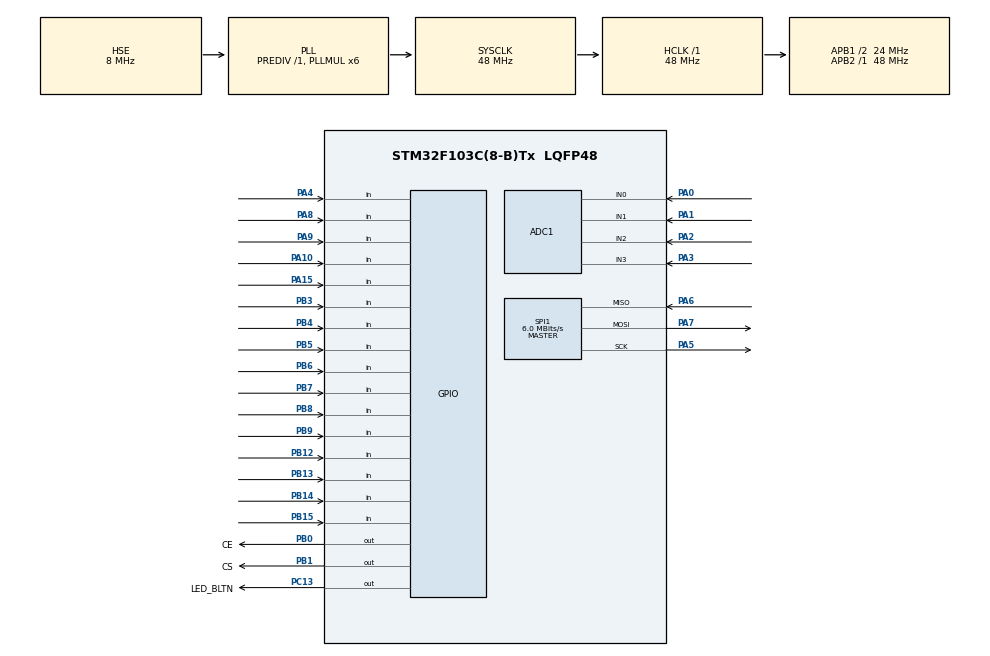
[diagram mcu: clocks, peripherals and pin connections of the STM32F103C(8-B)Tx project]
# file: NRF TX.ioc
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ADC1.Channel-0\#ChannelRegularConversion=ADC_CHANNEL_0
ADC1.Channel-1\#ChannelRegularConversion=ADC_CHANNEL_1
ADC1.Channel-2\#ChannelRegularConversion=ADC_CHANNEL_2
ADC1.Channel-3\#ChannelRegularConversion=ADC_CHANNEL_3
ADC1.ContinuousConvMode=ENABLE
ADC1.NbrOfConversion=4
ADC1.NbrOfConversionFlag=1
ADC1.Rank-0\#ChannelRegularConversion=1
ADC1.Rank-1\#ChannelRegularConversion=2
ADC1.Rank-2\#ChannelRegularConversion=3
ADC1.Rank-3\#ChannelRegularConversion=4
ADC1.SamplingTime-0\#ChannelRegularConversion=ADC_SAMPLETIME_239CYCLES_5
ADC1.SamplingTime-1\#ChannelRegularConversion=ADC_SAMPLETIME_239CYCLES_5
ADC1.SamplingTime-2\#ChannelRegularConversion=ADC_SAMPLETIME_239CYCLES_5
ADC1.SamplingTime-3\#ChannelRegularConversion=ADC_SAMPLETIME_239CYCLES_5
ADC1.master=1
Dma.ADC1.0.Direction=DMA_PERIPH_TO_MEMORY
Dma.ADC1.0.Instance=DMA1_Channel1
Dma.ADC1.0.MemDataAlignment=DMA_MDATAALIGN_HALFWORD
Dma.ADC1.0.MemInc=DMA_MINC_ENABLE
Dma.ADC1.0.Mode=DMA_CIRCULAR
Dma.ADC1.0.PeriphDataAlignment=DMA_PDATAALIGN_HALFWORD
Dma.ADC1.0.PeriphInc=DMA_PINC_DISABLE
Dma.ADC1.0.Priority=DMA_PRIORITY_HIGH
Dma.Request0=ADC1
Mcu.Family=STM32F1
Mcu.Name=STM32F103C(8-B)Tx
Mcu.Package=LQFP48
NVIC.ADC1_2_IRQn=true\:0\:0\:false\:false\:true\:true\:true\:true
NVIC.DMA1_Channel1_IRQn=true\:0\:0\:false\:false\:true\:false\:true\:true
NVIC.PriorityGroup=NVIC_PRIORITYGROUP_4
NVIC.SPI1_IRQn=true\:0\:0\:false\:false\:true\:true\:true\:true
PA0-WKUP.Signal=ADCx_IN0
PA1.Signal=ADCx_IN1
PA10.GPIO_PuPd=GPIO_PULLUP
PA10.Signal=GPIO_Input
PA13.Mode=Serial_Wire
PA13.Signal=SYS_JTMS-SWDIO
PA14.Mode=Serial_Wire
PA14.Signal=SYS_JTCK-SWCLK
PA15.GPIO_PuPd=GPIO_PULLUP
PA15.Signal=GPIO_Input
PA2.Signal=ADCx_IN2
PA3.Signal=ADCx_IN3
PA4.GPIO_PuPd=GPIO_PULLUP
PA4.Signal=GPIO_Input
PA5.Mode=Full_Duplex_Master
PA5.Signal=SPI1_SCK
PA6.Mode=Full_Duplex_Master
PA6.Signal=SPI1_MISO
PA7.Mode=Full_Duplex_Master
PA7.Signal=SPI1_MOSI
PA8.GPIO_PuPd=GPIO_PULLUP
PA8.Signal=GPIO_Input
PA9.GPIO_PuPd=GPIO_PULLUP
PA9.Signal=GPIO_Input
PB0.GPIO_Label=CE
PB0.GPIO_Speed=GPIO_SPEED_FREQ_HIGH
PB0.Signal=GPIO_Output
PB1.GPIO_Label=CS
PB1.GPIO_Speed=GPIO_SPEED_FREQ_HIGH
PB1.Signal=GPIO_Output
PB12.GPIO_PuPd=GPIO_PULLUP
PB12.Signal=GPIO_Input
PB13.GPIO_PuPd=GPIO_PULLUP
PB13.Signal=GPIO_Input
PB14.GPIO_PuPd=GPIO_PULLUP
PB14.Signal=GPIO_Input
PB15.GPIO_PuPd=GPIO_PULLUP
PB15.Signal=GPIO_Input
PB3.GPIO_PuPd=GPIO_PULLUP
PB3.Signal=GPIO_Input
PB4.GPIO_PuPd=GPIO_PULLUP
PB4.Signal=GPIO_Input
PB5.GPIO_PuPd=GPIO_PULLUP
PB5.Signal=GPIO_Input
PB6.GPIO_PuPd=GPIO_PULLUP
PB6.Signal=GPIO_Input
PB7.GPIO_PuPd=GPIO_PULLUP
PB7.Signal=GPIO_Input
PB8.GPIO_PuPd=GPIO_PULLUP
PB8.Signal=GPIO_Input
PB9.GPIO_PuPd=GPIO_PULLUP
PB9.Signal=GPIO_Input
PC13-TAMPER-RTC.GPIO_Label=LED_BLTN
PC13-TAMPER-RTC.Signal=GPIO_Output
PD0-OSC_IN.Mode=HSE-External-Oscillator
PD0-OSC_IN.Signal=RCC_OSC_IN
PD1-OSC_OUT.Mode=HSE-External-Oscillator
PD1-OSC_OUT.Signal=RCC_OSC_OUT
ProjectManager.HeapSize=0x200
ProjectManager.StackSize=0x400
ProjectManager.TargetToolchain=STM32CubeIDE
RCC.ADCPresc=RCC_ADCPCLK2_DIV4
RCC.AHBFreq_Value=48000000
RCC.APB1CLKDivider=RCC_HCLK_DIV2
RCC.APB1Freq_Value=24000000
RCC.APB1TimFreq_Value=48000000
RCC.APB2Freq_Value=48000000
RCC.APB2TimFreq_Value=48000000
RCC.HCLKFreq_Value=48000000
RCC.PLLMUL=RCC_PLL_MUL6
RCC.PLLSourceVirtual=RCC_PLLSOURCE_HSE
RCC.SYSCLKFreq_VALUE=48000000
RCC.SYSCLKSource=RCC_SYSCLKSOURCE_PLLCLK
RCC.USBFreq_Value=48000000
SH.ADCx_IN0.0=ADC1_IN0,IN0
SH.ADCx_IN1.0=ADC1_IN1,IN1
SH.ADCx_IN2.0=ADC1_IN2,IN2
SH.ADCx_IN3.0=ADC1_IN3,IN3
SPI1.BaudRatePrescaler=SPI_BAUDRATEPRESCALER_8
SPI1.CalculateBaudRate=6.0 MBits/s
SPI1.Direction=SPI_DIRECTION_2LINES
SPI1.Mode=SPI_MODE_MASTER
SPI1.VirtualType=VM_MASTER
board=custom

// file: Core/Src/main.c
/* USER CODE BEGIN Header */
/**
  ******************************************************************************
  * @file           : main.c
  * @brief          : Main program body
  ******************************************************************************
  * @attention
  *
  * Copyright (c) 2025 STMicroelectronics.
  * All rights reserved.
  *
  * This software is licensed under terms that can be found in the LICENSE file
  * in the root directory of this software component.
  * If no LICENSE file comes with this software, it is provided AS-IS.
  *
  ******************************************************************************
  */
/* USER CODE END Header */
#include "main.h"

/* USER CODE BEGIN Includes */
#include "NRF24.h"
#include "NRF24_conf.h"
#include "NRF24_reg_addresses.h"
/* USER CODE END Includes */

/* USER CODE BEGIN PD */

struct JoystickData {
  uint16_t code;
  uint16_t xAxis;
  uint16_t yAxis;
  uint16_t rXaxis;
  uint16_t rYaxis;
  uint16_t buttons;    // 16 bits, 16 buttons
};

struct JoystickData joy;

/* USER CODE END PD */

ADC_HandleTypeDef hadc1;
DMA_HandleTypeDef hdma_adc1;

SPI_HandleTypeDef hspi1;

void SystemClock_Config(void);
static void MX_GPIO_Init(void);
static void MX_DMA_Init(void);
static void MX_SPI1_Init(void);
static void MX_ADC1_Init(void);

/* USER CODE BEGIN 0 */
#define PLD_S sizeof(joy)

//uint8_t tx_ack_pld[PLD_S];
uint8_t tx_addr[5] = {0x45, 0x55, 0x67, 0x10, 0x21};

volatile uint16_t adcVal[4] = {0};
volatile int8_t adcValueReady;
uint32_t x,y,lx,ly;
uint16_t xRightStickValue_ADC, yRightStickValue_ADC, yLeftStickValue_ADC, xLeftStickValue_ADC;
uint16_t xRightCenter, yRightCenter, xLeftCenter, yLeftCenter;
volatile int8_t count;

//uint8_t msg[4] = {'P','I','E','!'};

//uint8_t dataT[PLD_S];

// Simple NRF24 connection check
// Returns 1 if OK, 0 if FAIL
uint8_t nrf24_is_connected(void)
{
    uint8_t testVal = 0x0A;  // Random check pattern
    uint8_t readVal = 0;

    // Write CONFIG register
    nrf24_w_reg(CONFIG, &testVal, 1);

    // Read CONFIG register
    readVal = nrf24_r_reg(CONFIG, 1);

    return (readVal == testVal);
}

int32_t map(int32_t x, int32_t in_min, int32_t in_max, int32_t out_min, int32_t out_max){
  return (x - in_min) * (out_max - out_min) / (in_max - in_min) + out_min;
}

int abs(int x)
{
    if (x < 0)
        return -x;
    else
        return x;
}

void sendButtons() {

	  joy.buttons = 0;  // reset all 16 bits

	  // D-PAD
	  joy.buttons |= (!HAL_GPIO_ReadPin(GPIOB, GPIO_PIN_3)  << 0);  // UP
	  joy.buttons |= (!HAL_GPIO_ReadPin(GPIOB, GPIO_PIN_4)  << 1);  // DOWN
	  joy.buttons |= (!HAL_GPIO_ReadPin(GPIOA, GPIO_PIN_15) << 2);  // LEFT
	  joy.buttons |= (!HAL_GPIO_ReadPin(GPIOB, GPIO_PIN_5)  << 3);  // RIGHT

	  // TRIGGERS
	  joy.buttons |= (!HAL_GPIO_ReadPin(GPIOA, GPIO_PIN_8)  << 4);  // LT1
	  joy.buttons |= (!HAL_GPIO_ReadPin(GPIOA, GPIO_PIN_9)  << 5);  // LT2
	  joy.buttons |= (!HAL_GPIO_ReadPin(GPIOA, GPIO_PIN_10) << 6);  // RT1
	  joy.buttons |= (!HAL_GPIO_ReadPin(GPIOA, GPIO_PIN_4)  << 7);  // RT2

	  // FACE & MISC
	  joy.buttons |= (!HAL_GPIO_ReadPin(GPIOB, GPIO_PIN_12) << 8);   // Y
	  joy.buttons |= (!HAL_GPIO_ReadPin(GPIOB, GPIO_PIN_13) << 9);   // X
	  joy.buttons |= (!HAL_GPIO_ReadPin(GPIOB, GPIO_PIN_14) << 10);  // A
	  joy.buttons |= (!HAL_GPIO_ReadPin(GPIOB, GPIO_PIN_15) << 11);  // B
	  joy.buttons |= (!HAL_GPIO_ReadPin(GPIOB, GPIO_PIN_6)  << 12);  // L3
	  joy.buttons |= (!HAL_GPIO_ReadPin(GPIOB, GPIO_PIN_7)  << 13);  // R3
	  joy.buttons |= (!HAL_GPIO_ReadPin(GPIOB, GPIO_PIN_8)  << 14);  // BACK
	  joy.buttons |= (!HAL_GPIO_ReadPin(GPIOB, GPIO_PIN_9)  << 15);  // START

	  int16_t drx = xRightStickValue_ADC - xRightCenter;
	  int16_t dry = yRightStickValue_ADC - yRightCenter;
	  int16_t dlx = xLeftStickValue_ADC  - xLeftCenter;
	  int16_t dly = yLeftStickValue_ADC  - yLeftCenter;

	  // dead-zone (kill noise around center)
	  if (abs(drx) < 50) drx = 0;
	  if (abs(dry) < 50) dry = 0;
	  if (abs(dlx) < 50) dlx = 0;
	  if (abs(dly) < 50) dly = 0;

	  // end-zones (clip to safe ADC span)
	  if (drx >  2047) drx =  2047;
	  if (drx < -2047) drx = -2047;

	  if (dry >  2047) dry =  2047;
	  if (dry < -2047) dry = -2047;

	  if (dlx >  2047) dlx =  2047;
	  if (dlx < -2047) dlx = -2047;

	  if (dly >  2047) dly =  2047;
	  if (dly < -2047) dly = -2047;

	  joy.xAxis  = map(drx, -2047, 2047, -32767, 32767);
	  joy.yAxis  = map(dry, -2047, 2047, -32767, 32767);
	  joy.rXaxis = map(dlx, -2047, 2047, -32767, 32767);
	  joy.rYaxis = map(dly, -2047, 2047, -32767, 32767);

	  joy.code = 0xFAE7;

	 // check = nrf24_transmit((uint8_t*)&joy, sizeof(joy));

}

/* USER CODE END 0 */

int main(void)
{

  /* MCU Configuration--------------------------------------------------------*/

  /* Reset of all peripherals, Initializes the Flash interface and the Systick. */
  HAL_Init();

  /* Configure the system clock */
  SystemClock_Config();

  /* Initialize all configured peripherals */
  MX_GPIO_Init();
  MX_DMA_Init();
  MX_SPI1_Init();
  MX_ADC1_Init();
  /* USER CODE BEGIN 2 */

  HAL_ADC_Start_DMA(&hadc1, (uint32_t*)adcVal, 4);

  csn_high();
  ce_high();

  HAL_Delay(5);

  ce_low();

  nrf24_init();

  HAL_Delay(5);

  if (!nrf24_is_connected()) {
      // Blink forever → NRF missing or SPI problem
      while (1) {
          HAL_GPIO_TogglePin(LED_BLTN_GPIO_Port, LED_BLTN_Pin);
          HAL_Delay(200);
      }
  }

  nrf24_stop_listen();

  nrf24_auto_ack_all(auto_ack);
  nrf24_en_ack_pld(disable);
  nrf24_dpl(disable);

  nrf24_set_crc(en_crc, _2byte);

  nrf24_tx_pwr(_0dbm);
  nrf24_data_rate(_2mbps);
  nrf24_set_channel(76);
  nrf24_set_addr_width(5);

  nrf24_set_rx_dpl(0, disable);
  nrf24_set_rx_dpl(1, disable);
  nrf24_set_rx_dpl(2, disable);
  nrf24_set_rx_dpl(3, disable);
  nrf24_set_rx_dpl(4, disable);
  nrf24_set_rx_dpl(5, disable);

  nrf24_pipe_pld_size(0, PLD_S);

  nrf24_auto_retr_delay(4);
  nrf24_auto_retr_limit(10);

  nrf24_open_tx_pipe(tx_addr);
  nrf24_open_rx_pipe(0, tx_addr);

  //ce_high();

  while (!adcValueReady);   // wait for first averaged ADC frame

  xRightCenter = xRightStickValue_ADC;
  yRightCenter = yRightStickValue_ADC;
  xLeftCenter = xLeftStickValue_ADC;
  yLeftCenter = yLeftStickValue_ADC;

  /* USER CODE END 2 */

  /* Infinite loop */
  /* USER CODE BEGIN WHILE */
  while (1)
  {
	  sendButtons();
	  uint8_t check = nrf24_transmit((uint8_t*)&joy, sizeof(joy));
//	  if (check == 1) {
//	      HAL_GPIO_WritePin(LED_BLTN_GPIO_Port, LED_BLTN_Pin, GPIO_PIN_SET);  // SUCCESS
//	  } else {
//	      HAL_GPIO_WritePin(LED_BLTN_GPIO_Port, LED_BLTN_Pin, GPIO_PIN_RESET); // FAIL
//	  }

    /* USER CODE END WHILE */

  }
}

void SystemClock_Config(void)
{
  RCC_OscInitTypeDef RCC_OscInitStruct = {0};
  RCC_ClkInitTypeDef RCC_ClkInitStruct = {0};
  RCC_PeriphCLKInitTypeDef PeriphClkInit = {0};

  /** Initializes the RCC Oscillators according to the specified parameters
  * in the RCC_OscInitTypeDef structure.
  */
  RCC_OscInitStruct.OscillatorType = RCC_OSCILLATORTYPE_HSE;
  RCC_OscInitStruct.HSEState = RCC_HSE_ON;
  RCC_OscInitStruct.HSEPredivValue = RCC_HSE_PREDIV_DIV1;
  RCC_OscInitStruct.HSIState = RCC_HSI_ON;
  RCC_OscInitStruct.PLL.PLLState = RCC_PLL_ON;
  RCC_OscInitStruct.PLL.PLLSource = RCC_PLLSOURCE_HSE;
  RCC_OscInitStruct.PLL.PLLMUL = RCC_PLL_MUL6;
  if (HAL_RCC_OscConfig(&RCC_OscInitStruct) != HAL_OK)
  {
    Error_Handler();
  }

  /** Initializes the CPU, AHB and APB buses clocks
  */
  RCC_ClkInitStruct.ClockType = RCC_CLOCKTYPE_HCLK|RCC_CLOCKTYPE_SYSCLK
                              |RCC_CLOCKTYPE_PCLK1|RCC_CLOCKTYPE_PCLK2;
  RCC_ClkInitStruct.SYSCLKSource = RCC_SYSCLKSOURCE_PLLCLK;
  RCC_ClkInitStruct.AHBCLKDivider = RCC_SYSCLK_DIV1;
  RCC_ClkInitStruct.APB1CLKDivider = RCC_HCLK_DIV2;
  RCC_ClkInitStruct.APB2CLKDivider = RCC_HCLK_DIV1;

  if (HAL_RCC_ClockConfig(&RCC_ClkInitStruct, FLASH_LATENCY_1) != HAL_OK)
  {
    Error_Handler();
  }
  PeriphClkInit.PeriphClockSelection = RCC_PERIPHCLK_ADC;
  PeriphClkInit.AdcClockSelection = RCC_ADCPCLK2_DIV4;
  if (HAL_RCCEx_PeriphCLKConfig(&PeriphClkInit) != HAL_OK)
  {
    Error_Handler();
  }
}

static void MX_ADC1_Init(void)
{

  ADC_ChannelConfTypeDef sConfig = {0};

  /** Common config
  */
  hadc1.Instance = ADC1;
  hadc1.Init.ScanConvMode = ADC_SCAN_ENABLE;
  hadc1.Init.ContinuousConvMode = ENABLE;
  hadc1.Init.DiscontinuousConvMode = DISABLE;
  hadc1.Init.ExternalTrigConv = ADC_SOFTWARE_START;
  hadc1.Init.DataAlign = ADC_DATAALIGN_RIGHT;
  hadc1.Init.NbrOfConversion = 4;
  if (HAL_ADC_Init(&hadc1) != HAL_OK)
  {
    Error_Handler();
  }

  /** Configure Regular Channel
  */
  sConfig.Channel = ADC_CHANNEL_0;
  sConfig.Rank = ADC_REGULAR_RANK_1;
  sConfig.SamplingTime = ADC_SAMPLETIME_239CYCLES_5;
  if (HAL_ADC_ConfigChannel(&hadc1, &sConfig) != HAL_OK)
  {
    Error_Handler();
  }

  /** Configure Regular Channel
  */
  sConfig.Channel = ADC_CHANNEL_1;
  sConfig.Rank = ADC_REGULAR_RANK_2;
  if (HAL_ADC_ConfigChannel(&hadc1, &sConfig) != HAL_OK)
  {
    Error_Handler();
  }

  /** Configure Regular Channel
  */
  sConfig.Channel = ADC_CHANNEL_2;
  sConfig.Rank = ADC_REGULAR_RANK_3;
  if (HAL_ADC_ConfigChannel(&hadc1, &sConfig) != HAL_OK)
  {
    Error_Handler();
  }

  /** Configure Regular Channel
  */
  sConfig.Channel = ADC_CHANNEL_3;
  sConfig.Rank = ADC_REGULAR_RANK_4;
  if (HAL_ADC_ConfigChannel(&hadc1, &sConfig) != HAL_OK)
  {
    Error_Handler();
  }

}

static void MX_SPI1_Init(void)
{

  /* SPI1 parameter configuration*/
  hspi1.Instance = SPI1;
  hspi1.Init.Mode = SPI_MODE_MASTER;
  hspi1.Init.Direction = SPI_DIRECTION_2LINES;
  hspi1.Init.DataSize = SPI_DATASIZE_8BIT;
  hspi1.Init.CLKPolarity = SPI_POLARITY_LOW;
  hspi1.Init.CLKPhase = SPI_PHASE_1EDGE;
  hspi1.Init.NSS = SPI_NSS_SOFT;
  hspi1.Init.BaudRatePrescaler = SPI_BAUDRATEPRESCALER_8;
  hspi1.Init.FirstBit = SPI_FIRSTBIT_MSB;
  hspi1.Init.TIMode = SPI_TIMODE_DISABLE;
  hspi1.Init.CRCCalculation = SPI_CRCCALCULATION_DISABLE;
  hspi1.Init.CRCPolynomial = 10;
  if (HAL_SPI_Init(&hspi1) != HAL_OK)
  {
    Error_Handler();
  }

}

static void MX_DMA_Init(void)
{

  /* DMA controller clock enable */
  __HAL_RCC_DMA1_CLK_ENABLE();

  /* DMA interrupt init */
  /* DMA1_Channel1_IRQn interrupt configuration */
  HAL_NVIC_SetPriority(DMA1_Channel1_IRQn, 0, 0);
  HAL_NVIC_EnableIRQ(DMA1_Channel1_IRQn);

}

static void MX_GPIO_Init(void)
{
  GPIO_InitTypeDef GPIO_InitStruct = {0};

  /* GPIO Ports Clock Enable */
  __HAL_RCC_GPIOC_CLK_ENABLE();
  __HAL_RCC_GPIOD_CLK_ENABLE();
  __HAL_RCC_GPIOA_CLK_ENABLE();
  __HAL_RCC_GPIOB_CLK_ENABLE();

  /*Configure GPIO pin Output Level */
  HAL_GPIO_WritePin(LED_BLTN_GPIO_Port, LED_BLTN_Pin, GPIO_PIN_RESET);

  /*Configure GPIO pin Output Level */
  HAL_GPIO_WritePin(GPIOB, CE_Pin|CS_Pin, GPIO_PIN_RESET);

  /*Configure GPIO pin : LED_BLTN_Pin */
  GPIO_InitStruct.Pin = LED_BLTN_Pin;
  GPIO_InitStruct.Mode = GPIO_MODE_OUTPUT_PP;
  GPIO_InitStruct.Pull = GPIO_NOPULL;
  GPIO_InitStruct.Speed = GPIO_SPEED_FREQ_LOW;
  HAL_GPIO_Init(LED_BLTN_GPIO_Port, &GPIO_InitStruct);

  /*Configure GPIO pins : PA4 PA8 PA9 PA10
                           PA15 */
  GPIO_InitStruct.Pin = GPIO_PIN_4|GPIO_PIN_8|GPIO_PIN_9|GPIO_PIN_10
                          |GPIO_PIN_15;
  GPIO_InitStruct.Mode = GPIO_MODE_INPUT;
  GPIO_InitStruct.Pull = GPIO_PULLUP;
  HAL_GPIO_Init(GPIOA, &GPIO_InitStruct);

  /*Configure GPIO pins : CE_Pin CS_Pin */
  GPIO_InitStruct.Pin = CE_Pin|CS_Pin;
  GPIO_InitStruct.Mode = GPIO_MODE_OUTPUT_PP;
  GPIO_InitStruct.Pull = GPIO_NOPULL;
  GPIO_InitStruct.Speed = GPIO_SPEED_FREQ_HIGH;
  HAL_GPIO_Init(GPIOB, &GPIO_InitStruct);

  /*Configure GPIO pins : PB12 PB13 PB14 PB15
                           PB3 PB4 PB5 PB6
                           PB7 PB8 PB9 */
  GPIO_InitStruct.Pin = GPIO_PIN_12|GPIO_PIN_13|GPIO_PIN_14|GPIO_PIN_15
                          |GPIO_PIN_3|GPIO_PIN_4|GPIO_PIN_5|GPIO_PIN_6
                          |GPIO_PIN_7|GPIO_PIN_8|GPIO_PIN_9;
  GPIO_InitStruct.Mode = GPIO_MODE_INPUT;
  GPIO_InitStruct.Pull = GPIO_PULLUP;
  HAL_GPIO_Init(GPIOB, &GPIO_InitStruct);

}

/* USER CODE BEGIN 4 */

/**	ADC ISR
*		Handles the values from ADC after the conversion finished
*/
void HAL_ADC_ConvCpltCallback(ADC_HandleTypeDef* hadc) {

    x  += adcVal[2];
    y  += adcVal[3];
    lx += adcVal[0];
    ly += adcVal[1];

    count++;

    // after 100 samples, average them
    if (count >= 100) {

        xRightStickValue_ADC = x / 100;
        yRightStickValue_ADC = y / 100;
        xLeftStickValue_ADC  = lx / 100;
        yLeftStickValue_ADC  = ly / 100;

        // reset for next round
        x = 0;
        y = 0;
        lx = 0;
        ly = 0;
        count = 0;

        adcValueReady = 1;
    }
}

/* USER CODE END 4 */

void Error_Handler(void)
{
  /* USER CODE BEGIN Error_Handler_Debug */
  /* User can add his own implementation to report the HAL error return state */
  __disable_irq();
  while (1)
  {
	  HAL_GPIO_TogglePin(LED_BLTN_GPIO_Port, LED_BLTN_Pin);
	  HAL_Delay(100);
  }
  /* USER CODE END Error_Handler_Debug */
}
